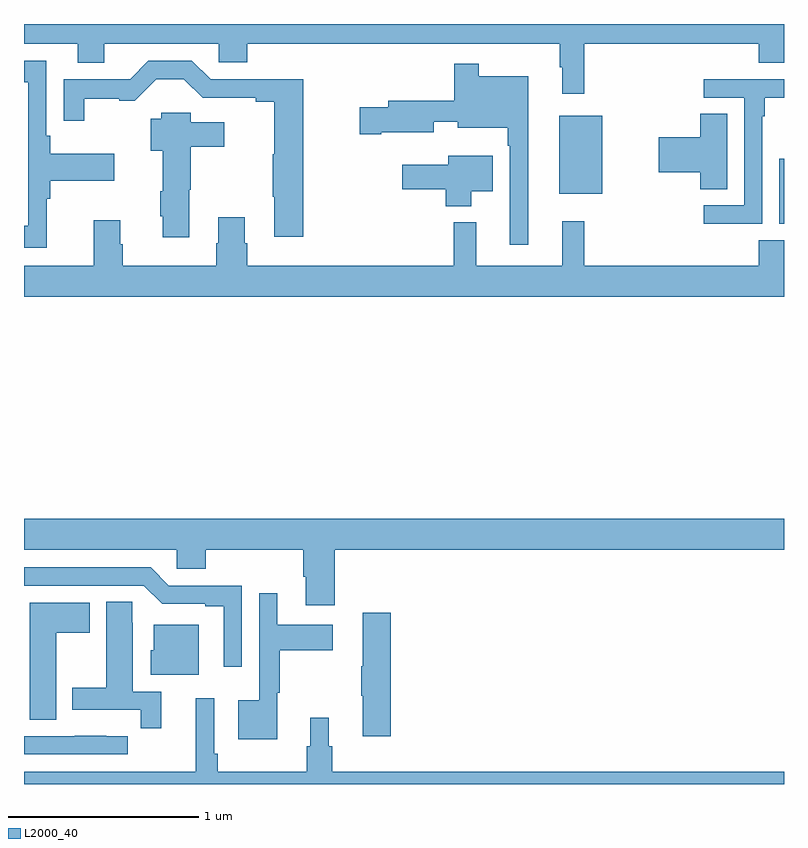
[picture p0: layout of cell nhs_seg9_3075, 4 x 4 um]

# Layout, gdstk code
import gdstk
lib = gdstk.Library(unit=1e-6, precision=1e-09)
def R(c, l, rs):  # rectangles x0, y0, x1, y1
    for r in rs: c.add(gdstk.rectangle(r[:2], r[2:], *l))
def P(c, l, *ps):  # polygons
    for p in ps: c.add(gdstk.Polygon(p, *l))
L2000_40 = (2000, 40)

nhs_seg9_3075 = lib.new_cell('nhs_seg9_3075')
R(nhs_seg9_3075, L2000_40, [(290.975,1219.449,291,1219.792), (289.817,1219.607,290.044,1220.017)])
P(nhs_seg9_3075, L2000_40, [(287,1220.396),(287.282,1220.396),(287.282,1220.297),(287.422,1220.297),(287.422,1220.396),(288.024,1220.396),(288.024,1220.298),(288.176,1220.298),(288.176,1220.396),(289.821,1220.396),(289.821,1220.273),(289.832,1220.273),(289.832,1220.133),(289.949,1220.133),(289.949,1220.396),(290.867,1220.396),(290.867,1220.297),(291,1220.297),(291,1220.5),(287,1220.5)],
  [(288.47,1220.21),(288.221,1220.21),(288.221,1220.208),(287.982,1220.208),(287.883,1220.307),(287.655,1220.307),(287.558,1220.21),(287.208,1220.21),(287.208,1219.992),(287.317,1219.992),(287.317,1220.107),(287.501,1220.107),(287.501,1220.095),(287.582,1220.095),(287.697,1220.21),(287.842,1220.21),(287.94,1220.112),(288.221,1220.112),(288.221,1220.092),(288.317,1220.092),(288.317,1219.815),(288.31,1219.815),(288.31,1219.592),(288.317,1219.592),(288.317,1219.38),(288.47,1219.38)],
  [(287.121,1219.58),(287.138,1219.58),(287.138,1219.676),(287.476,1219.676),(287.476,1219.816),(287.138,1219.816),(287.138,1219.912),(287.118,1219.912),(287.118,1220.307),(287,1220.307),(287,1220.193),(287.022,1220.193),(287.022,1219.439),(287,1219.439),(287,1219.323),(287.121,1219.323)],
  [(289.654,1220.224),(289.393,1220.224),(289.393,1220.29),(289.264,1220.29),(289.264,1220.095),(288.917,1220.095),(288.917,1220.061),(288.768,1220.061),(288.768,1219.919),(288.88,1219.919),(288.88,1219.931),(289.156,1219.931),(289.156,1219.985),(289.283,1219.985),(289.283,1219.955),(289.545,1219.955),(289.545,1219.859),(289.557,1219.859),(289.557,1219.338),(289.654,1219.338)],
  [(290.886,1220.015),(290.899,1220.015),(290.899,1220.111),(291,1220.111),(291,1220.208),(290.577,1220.208),(290.577,1220.112),(290.79,1220.112),(290.79,1219.545),(290.577,1219.545),(290.577,1219.449),(290.886,1219.449)],
  [(287.869,1219.628),(287.877,1219.628),(287.877,1219.855),(288.055,1219.855),(288.055,1219.984),(287.877,1219.984),(287.877,1220.032),(287.722,1220.032),(287.722,1220.002),(287.666,1220.002),(287.666,1219.832),(287.729,1219.832),(287.729,1219.619),(287.717,1219.619),(287.717,1219.489),(287.729,1219.489),(287.729,1219.377),(287.869,1219.377)],
  [(290.701,1220.027),(290.558,1220.027),(290.558,1219.904),(290.34,1219.904),(290.34,1219.721),(290.558,1219.721),(290.558,1219.63),(290.701,1219.63)],
  [(289.354,1219.619),(289.468,1219.619),(289.468,1219.807),(289.232,1219.807),(289.232,1219.759),(288.99,1219.759),(288.99,1219.63),(289.22,1219.63),(289.22,1219.541),(289.354,1219.541)],
  [(291,1219.363),(290.867,1219.363),(290.867,1219.228),(289.949,1219.228),(289.949,1219.462),(289.832,1219.462),(289.832,1219.228),(289.379,1219.228),(289.379,1219.456),(289.261,1219.456),(289.261,1219.228),(288.176,1219.228),(288.176,1219.347),(288.163,1219.347),(288.163,1219.483),(288.023,1219.483),(288.023,1219.347),(288.011,1219.347),(288.011,1219.228),(287.519,1219.228),(287.519,1219.34),(287.506,1219.34),(287.506,1219.468),(287.366,1219.468),(287.366,1219.228),(287,1219.228),(287,1219.064),(291,1219.064)],
  [(287,1217.732),(287.805,1217.732),(287.805,1217.634),(287.957,1217.634),(287.957,1217.732),(288.47,1217.732),(288.47,1217.59),(288.482,1217.59),(288.482,1217.442),(288.635,1217.442),(288.635,1217.732),(291,1217.732),(291,1217.896),(287,1217.896)],
  [(288.147,1217.544),(287.763,1217.544),(287.667,1217.64),(287,1217.64),(287,1217.544),(287.631,1217.544),(287.727,1217.448),(287.954,1217.448),(287.954,1217.436),(288.05,1217.436),(288.05,1217.118),(288.147,1217.118)],
  [(288.334,1216.98),(288.346,1216.98),(288.346,1217.204),(288.625,1217.204),(288.625,1217.338),(288.334,1217.338),(288.334,1217.503),(288.237,1217.503),(288.237,1216.942),(288.128,1216.942),(288.128,1216.736),(288.334,1216.736)],
  [(287.723,1216.986),(287.572,1216.986),(287.572,1217.348),(287.571,1217.348),(287.571,1217.459),(287.432,1217.459),(287.432,1217.007),(287.255,1217.007),(287.255,1216.89),(287.614,1216.89),(287.614,1216.794),(287.723,1216.794)],
  [(287.17,1217.296),(287.347,1217.296),(287.347,1217.455),(287.03,1217.455),(287.03,1216.945),(287.031,1216.945),(287.031,1216.837),(287.17,1216.837)],
  [(288.929,1217.401),(288.782,1217.401),(288.782,1217.12),(288.775,1217.12),(288.775,1216.964),(288.782,1216.964),(288.782,1216.752),(288.929,1216.752)],
  [(287.92,1217.338),(287.684,1217.338),(287.684,1217.205),(287.666,1217.205),(287.666,1217.075),(287.92,1217.075)],
  [(291,1216.564),(288.623,1216.564),(288.623,1216.698),(288.604,1216.698),(288.604,1216.849),(288.506,1216.849),(288.506,1216.698),(288.487,1216.698),(288.487,1216.564),(288.02,1216.564),(288.02,1216.66),(288,1216.66),(288,1216.951),(287.903,1216.951),(287.903,1216.564),(287,1216.564),(287,1216.5),(291,1216.5)],
  [(287.545,1216.752),(287.432,1216.752),(287.432,1216.753),(287.266,1216.753),(287.266,1216.752),(287,1216.752),(287,1216.656),(287.545,1216.656)])

lib.write_gds('nhs_seg9_3075.gds')
